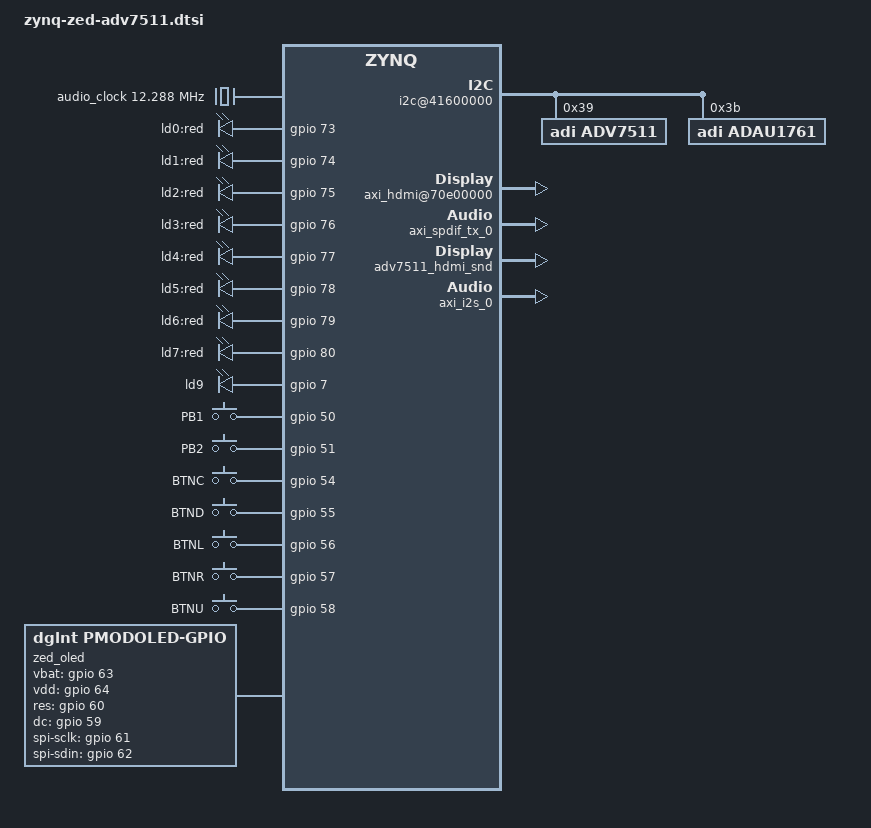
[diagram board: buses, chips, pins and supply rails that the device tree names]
/ {
	fpga_axi: fpga-axi@0 {
		compatible = "simple-bus";
		#address-cells = <0x1>;
		#size-cells = <0x1>;
		ranges;

		i2c@41600000 {
			compatible = "xlnx,axi-iic-1.01.b", "xlnx,xps-iic-2.00.a";
			interrupt-parent = <&gic>;
			interrupts = <0 58 0x4>;
			reg = <0x41600000 0x10000>;

			#size-cells = <0>;
			#address-cells = <1>;

			adv7511: adv7511@39 {
				compatible = "adi,adv7511";
				reg = <0x39>;

				adi,input-style = <0x02>;
				adi,input-id = <0x01>;
				adi,input-color-depth = <0x3>;
				adi,sync-pulse = <0x03>;
				adi,bit-justification = <0x01>;
				adi,up-conversion = <0x00>;
				adi,timing-generation-sequence = <0x00>;
				adi,vsync-polarity = <0x02>;
				adi,hsync-polarity = <0x02>;
				adi,tdms-clock-inversion;
				adi,clock-delay = <0x03>;
			};

			adau1761: adau1761@3b {
				compatible = "adi,adau1761";
				reg = <0x3b>;
			};
		};

		axi_vdma_0: axivdma@43000000 {
			compatible = "xlnx,axi-vdma-1.00.a";
			#address-cells = <1>;
			#size-cells = <1>;
			#dma-cells = <1>;
			#dma-channels = <1>;
			reg = <0x43000000 0x1000>;
			xlnx,num-fstores = <0x3>;
			dma-channel@43000000 {
				compatible = "xlnx,axi-vdma-mm2s-channel";
				interrupts = <0 59 0x4>;
				xlnx,datawidth = <0x40>;
				xlnx,genlock-mode = <0x0>;
				xlnx,include-dre = <0x0>;
			};
		};

		hdmi_clock: axi-clkgen@79000000 {
			compatible = "adi,axi-clkgen-2.00.a";
			reg = <0x79000000 0x10000>;
			#clock-cells = <0>;
			clocks = <&clkc 16>;
		};

		axi_hdmi@70e00000 {
			compatible = "adi,axi-hdmi-tx-1.00.a";
			reg = <0x70e00000 0x10000>;
			encoder-slave = <&adv7511>;
			dmas = <&axi_vdma_0 0>;
			dma-names = "video";
			clocks = <&hdmi_clock>;
		};

		audio_clock: audio_clock {
			compatible = "fixed-clock";
			#clock-cells = <0>;
			clock-frequency = <12288000>;
		};

		axi_spdif_tx_0: axi-spdif-tx@0x75c00000 {
			compatible = "adi,axi-spdif-tx-1.00.a";
			reg = <0x75c00000 0x1000>;
			dmas = <&ps7_dma 0>;
			dma-names = "tx";
			clocks = <&clkc 15>, <&audio_clock>, <&audio_clock>;
			clock-names = "axi", "ref", "spdif";
		};

		adv7511_hdmi_snd: adv7511_hdmi_snd {
			compatible = "adv7511-hdmi-snd";
			audio-codec = <&adv7511>;
			cpu-dai = <&axi_spdif_tx_0>;
		};

		axi_i2s_0: axi-i2s@0x77600000 {
			compatible = "adi,axi-i2s-1.00.a";
			reg = <0x77600000 0x1000>;
			dmas = <&ps7_dma 1 &ps7_dma 2>;
			dma-names = "tx", "rx";
			clocks = <&clkc 15>, <&audio_clock>, <&audio_clock>;
			clock-names = "axi", "ref", "i2s";
		};

		zed_sound: zed_sound {
			compatible = "digilent,zed-sound";
			audio-codec = <&adau1761>;
			cpu-dai = <&axi_i2s_0>;
		};
	};

	leds {
		compatible = "gpio-leds";
		ld0 {
			label = "ld0:red";
			gpios = <&gpio 73 0>;
		};

		ld1 {
			label = "ld1:red";
			gpios = <&gpio 74 0>;
		};

		ld2 {
			label = "ld2:red";
			gpios = <&gpio 75 0>;
		};

		ld3 {
			label = "ld3:red";
			gpios = <&gpio 76 0>;
		};

		ld4 {
			label = "ld4:red";
			gpios = <&gpio 77 0>;
		};

		ld5 {
			label = "ld5:red";
			gpios = <&gpio 78 0>;
		};

		ld6 {
			label = "ld6:red";
			gpios = <&gpio 79 0>;
		};

		ld7 {
			label = "ld7:red";
			gpios = <&gpio 80 0>;
		};
		ld9 {
			label = "ld9";
			gpios = <&gpio 7 0>;
			linux,default-trigger = "heartbeat";
		};
	};

	gpio_keys {
		compatible = "gpio-keys";
		#address-cells = <1>;
		#size-cells = <0>;
		autorepeat;
		btn8 {
			label = "PB1";
			linux,code = <28>; // Enter
			gpios = <&gpio 50 0>;
		};
		btn9 {
			label = "PB2";
			linux,code = <1>; // ESC
			gpios = <&gpio 51 0>;
		};
		btnc {
			label = "BTNC";
			linux,code = <76>; // Numeric 5
			gpios = <&gpio 54 0>;
		};
		btnd {
			label = "BTND";
			linux,code = <80>; // DOWN 2
			gpios = <&gpio 55 0>;
		};
		btnl {
			label = "BTNL";
			linux,code = <75>; // LEFT 4
			gpios = <&gpio 56 0>;
		};
		btnr {
			label = "BTNR";
			linux,code = <77>; // RT ARROW 6
			gpios = <&gpio 57 0>;
		};
		btnu {
			label = "BTNU";
			linux,code = <72>; // UP 8
			gpios = <&gpio 58 0>;
		};
	};

	zed_oled {
		compatible = "dglnt,pmodoled-gpio";
		/* GPIO Pins */
		vbat-gpio = <&gpio 63 0>;
		vdd-gpio = <&gpio 64 0>;
		res-gpio = <&gpio 60 0>;
		dc-gpio = <&gpio 59 0>;
		/* SPI-GPIOs */
		spi-bus-num = <2>;
		spi-sclk-gpio = <&gpio 61 0>;
		spi-sdin-gpio = <&gpio 62 0>;
	};
};
